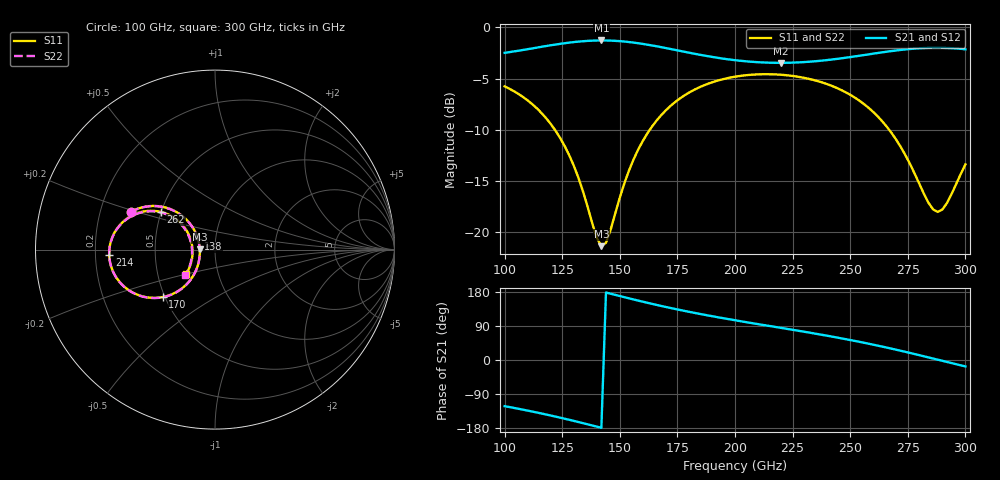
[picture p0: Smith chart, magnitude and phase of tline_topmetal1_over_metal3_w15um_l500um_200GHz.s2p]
#  GHZ S DB R 50
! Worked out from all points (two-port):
!   101 points, 100 GHz to 300 GHz, reference 50 ohm
!   highest |S21| = -1.28 dB at 142 GHz (marker M1); lowest = -3.5 dB at 220 GHz (marker M2)
!   |S21| within 3 dB of the highest: start of sweep to end of sweep
!   lowest |S11| = -21.4 dB at 142 GHz (marker M3), VSWR 1.19, Z = 42.2 + j0.231 ohm
!   |S11| at or under -10 dB: 121.8 GHz to 163.1 GHz (41.3 GHz wide, 29 % of centre); 266.9 GHz to end of sweep
!   |S22| runs from -21.4 to -4.6 dB; largest |S21 - S12| = 9.9e-14
!   S11 on the Smith chart (normalised r, x): 100 GHz: 0.33, +0.19; 138 GHz: 0.82, +0.10; 170 GHz: 0.49, -0.30; 214 GHz: 0.26, -0.03; 262 GHz: 0.50, +0.24; 300 GHz: 0.70, -0.20
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100  -5.77 156.0  -2.49 -121.8  -2.49 -121.8  -5.77 156.1
120  -9.44 137.9  -1.75 -146.5  -1.75 -146.5  -9.44 138.0
128  -12.48 133.6  -1.49 -157.7  -1.49 -157.7  -12.48 133.8
134  -16.02 136.8  -1.35 -166.6  -1.35 -166.6  -16.02 137.0
138  -19.13 148.8  -1.30 -172.7  -1.30 -172.7  -19.13 148.9
142  -21.40 178.2  -1.28 -178.9  -1.28 -178.9  -21.40 178.3
144  -21.07 -163.5  -1.28 178.0  -1.28 178.0  -21.07 -163.4
156  -12.90 -129.0  -1.49 159.7  -1.49 159.7  -12.90 -128.9
168  -8.58 -136.0  -1.93 142.6  -1.93 142.6  -8.58 -135.8
170  -8.11 -137.8  -2.02 139.9  -2.02 139.9  -8.11 -137.6
184  -5.91 -150.8  -2.64 122.5  -2.64 122.5  -5.91 -150.5
200  -4.82 -165.1  -3.21 104.9  -3.21 104.9  -4.82 -164.8
214  -4.58 -176.9  -3.45 90.7  -3.45 90.7  -4.58 -176.6
220  -4.63 178.2  -3.47 84.7  -3.47 84.7  -4.63 178.5
234  -5.14 166.8  -3.33 70.4  -3.33 70.4  -5.13 167.1
250  -6.59 153.7  -2.90 52.7  -2.90 52.7  -6.58 154.2
262  -8.72 145.1  -2.50 37.9  -2.50 37.9  -8.70 145.7
268  -10.34 142.3  -2.31 29.8  -2.31 29.8  -10.31 143.0
284  -17.17 162.0  -2.00 6.8  -2.00 6.8  -17.01 162.8
288  -18.05 -178.1  -1.99 0.9  -1.99 0.9  -17.86 -177.7
292  -17.18 -158.0  -2.01 -5.1  -2.01 -5.1  -17.02 -158.2
300  -13.40 -139.6  -2.14 -17.0  -2.14 -17.0  -13.34 -139.9
